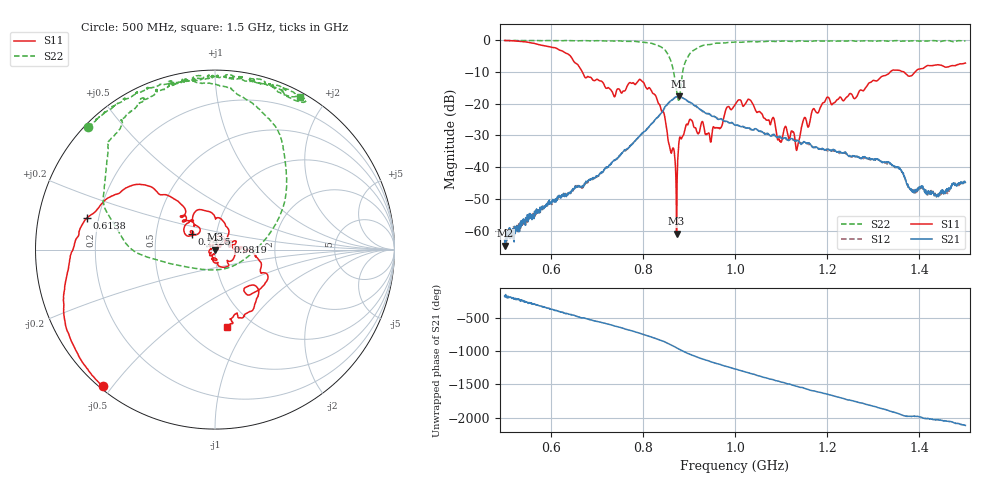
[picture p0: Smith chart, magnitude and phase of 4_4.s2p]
!Agilent Technologies,E8364B,US42250235,A.06.04.32
!Agilent E8364B: A.06.04.32
!Date: Friday, January 15, 2021 16:15:59
!Correction: S11(Full 2 Port(1,2)) S21(Full 2 Port(1,2)) S12(Full 2 Port(1,2)) S22(Full 2 Port(1,2))
!S2P File: Measurements: S11, S21, S12, S22:
# Hz S  dB  R 50
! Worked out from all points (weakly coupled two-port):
!   1601 points, 500 MHz to 1.5 GHz, reference 50 ohm
!   highest |S21| = -17.73 dB at 879.4 MHz (marker M1); lowest = -64.6 dB at 501.2 MHz (marker M2)
!   lowest |S11| = -60.9 dB at 873.1 MHz (marker M3), VSWR 1.00, Z = 50 - j0.0876 ohm
!   |S11| at or under -10 dB: 668.6 MHz to 1.337 GHz (668.5 MHz wide, 66.7 % of centre); 1.366 GHz to 1.391 GHz (25 MHz wide, 1.81 % of centre)
!   |S22| runs from -18.9 to -0.1 dB; largest |S21 - S12| = 0.0044
!   S11 on the Smith chart (normalised r, x): 500 MHz: 0.01, -0.47; 613.8 MHz: 0.16, +0.12; 742.5 MHz: 0.76, +0.14; 981.9 MHz: 1.16, +0.10; 1.5 GHz: 0.77, -0.81
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5e8  -0.13 -129.4  -62.87 -173.8  -63.28 -164.5  -0.16 136.0
5.0125e8  -0.13 -129.9  -64.60 171.8  -64.79 174.7  -0.16 135.9
6.1375e8  -2.68 166.0  -50.42 -33.6  -49.68 -33.3  -0.18 123.8
6.66875e8  -9.55 127.2  -46.00 -136.8  -46.40 -136.0  -0.21 116.3
7.425e8  -16.10 145.8  -37.43 91.2  -37.53 90.1  -0.31 104.5
7.95e8  -12.50 110.1  -29.87 -15.0  -29.87 -16.1  -0.63 93.6
8.3375e8  -19.91 46.4  -23.99 -105.0  -24.03 -106.1  -1.76 71.9
8.58125e8  -33.52 38.9  -19.36 -176.3  -19.52 -177.2  -5.59 40.7
8.73125e8  -60.89 -75.9  -17.84 130.1  -17.94 129.5  -15.91 -24.6
8.79375e8  -31.04 120.1  -17.73 106.9  -17.81 106.3  -18.29 -112.9
9.06875e8  -25.48 88.3  -19.91 19.4  -20.04 18.7  -3.50 157.9
9.45e8  -30.24 25.1  -23.22 -72.7  -23.35 -72.7  -1.43 131.1
9.81875e8  -21.28 30.9  -25.53 -149.6  -25.64 -151.6  -0.84 118.7
1e9  -20.32 8.9  -26.79 172.4  -26.66 171.7  -0.59 115.3
1.0325e9  -18.80 -57.4  -27.76 107.5  -28.04 106.7  -0.50 110.1
1.09625e9  -31.35 -97.5  -30.29 -14.1  -30.60 -17.1  -0.39 99.5
1.11e9  -27.12 -131.6  -30.66 -42.0  -31.06 -44.1  -0.30 100.9
1.135e9  -34.02 169.4  -31.50 -88.9  -31.74 -92.1  -0.34 93.8
1.166875e9  -22.50 75.7  -33.37 -152.9  -33.48 -152.6  -0.36 91.2
1.33375e9  -10.53 -25.6  -38.47 -93.8  -38.76 -93.3  -0.39 76.6
1.385e9  -10.98 -44.7  -47.11 -176.1  -47.31 -175.7  -0.22 71.1
1.5e9  -7.24 -81.0  -44.77 44.6  -44.97 45.3  -0.24 60.8
